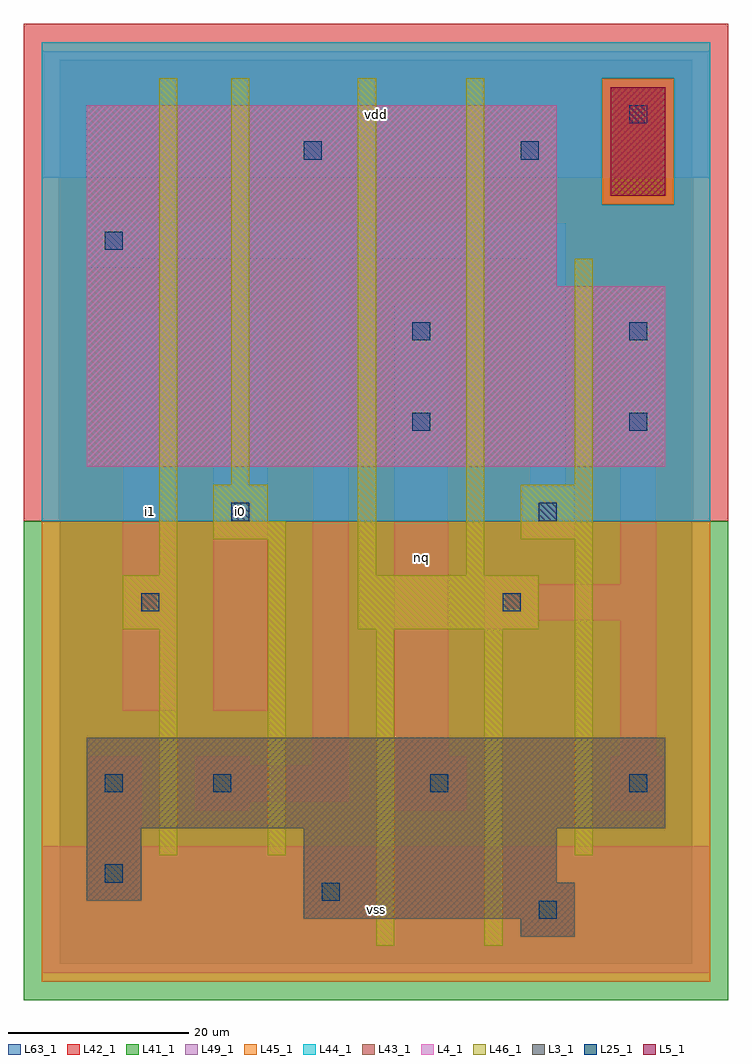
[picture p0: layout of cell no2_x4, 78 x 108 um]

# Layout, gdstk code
import gdstk
lib = gdstk.Library(unit=1e-6, precision=1e-09)
def R(c, l, rs):  # rectangles x0, y0, x1, y1
    for r in rs: c.add(gdstk.rectangle(r[:2], r[2:], *l))
L3_1 = (3, 1)
L4_1 = (4, 1)
L5_1 = (5, 1)
L25_1 = (25, 1)
L41_1 = (41, 1)
L42_1 = (42, 1)
L43_1 = (43, 1)
L44_1 = (44, 1)
L45_1 = (45, 1)
L46_1 = (46, 1)
L49_1 = (49, 1)
L63_1 = (63, 1)

no2_x4 = lib.new_cell('no2_x4')
R(no2_x4, L3_1, [(51,3,57,5), (27,5,57,9), (3,7,9,15), (27,9,55,15), (3,15,67,25)])
R(no2_x4, L4_1, [(3,55,67,75), (3,75,55,95)])
R(no2_x4, L5_1, [(61,85,67,97)])
R(no2_x4, L25_1, [(53,5,55,7), (29,7,31,9), (5,9,7,11), (5,19,7,21), (17,19,19,21), (41,19,43,21), (63,19,65,21), (9,39,11,41), (49,39,51,41), (19,49,21,51), (53,49,55,51), (39,59,41,61), (63,59,65,61), (39,69,41,71), (63,69,65,71), (5,79,7,81), (27,89,29,91), (51,89,53,91), (63,93,65,95)])
R(no2_x4, L41_1, [(-4,-4,74,49)])
R(no2_x4, L42_1, [(-4,49,74,104)])
R(no2_x4, L43_1, [(51,3,57,5), (27,5,57,9), (3,7,9,15), (27,9,55,15), (3,15,67,25), (3,55,67,75), (3,75,55,95), (61,85,67,97)])
R(no2_x4, L44_1, [(-2,49,72,84), (-2,84,60,98), (68,84,72,98), (-2,98,72,102)])
R(no2_x4, L45_1, [(-2,-2,72,49), (60,84,68,98)])
R(no2_x4, L46_1, [(35,2,37,37), (47,2,49,37), (11,12,13,37), (23,12,25,47), (57,12,59,47), (7,37,13,43), (33,37,53,43), (11,43,13,98), (33,43,35,98), (45,43,47,98), (17,47,25,49), (51,47,59,53), (17,49,23,53), (19,53,21,98), (57,53,59,78)])
R(no2_x4, L49_1, [(-2,-1,72,13), (3,13,9,23), (15,17,21,18), (37,17,45,23), (61,17,67,23), (15,18,32,22), (15,22,21,23), (28,22,32,78), (37,23,43,73), (62,23,66,38), (7,28,13,72), (17,28,23,72), (47,37,53,38), (47,38,66,42), (47,42,53,43), (62,42,66,57), (51,47,57,53), (52,53,56,78), (61,57,67,63), (62,63,66,67), (61,67,67,73), (3,77,9,78), (3,78,56,82), (3,82,9,83), (-2,87,72,101)])
R(no2_x4, L63_1, [(0,0,70,100)])
no2_x4.add(gdstk.Label('i1', (10,50), layer=49, texttype=1))
no2_x4.add(gdstk.Label('i1', (10,50), layer=49, texttype=1))
no2_x4.add(gdstk.Label('i0', (20,50), layer=49, texttype=1))
no2_x4.add(gdstk.Label('i0', (20,50), layer=49, texttype=1))
no2_x4.add(gdstk.Label('vss', (35,6), layer=49, texttype=1))
no2_x4.add(gdstk.Label('vss', (35,6), layer=49, texttype=1))
no2_x4.add(gdstk.Label('nq', (40,45), layer=49, texttype=1))
no2_x4.add(gdstk.Label('nq', (40,45), layer=49, texttype=1))
no2_x4.add(gdstk.Label('vdd', (35,94), layer=49, texttype=1))
no2_x4.add(gdstk.Label('vdd', (35,94), layer=49, texttype=1))

lib.write_gds('no2_x4.gds')
